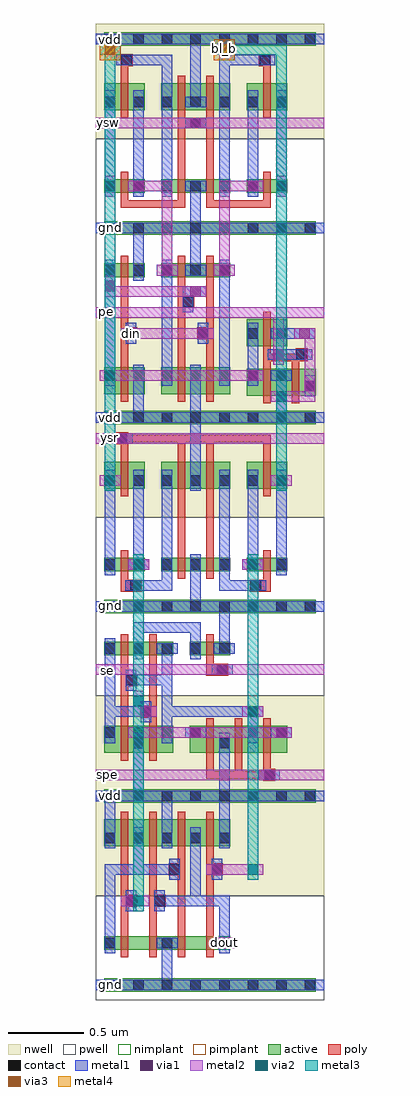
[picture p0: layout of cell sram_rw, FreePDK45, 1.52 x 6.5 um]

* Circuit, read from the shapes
.subckt sram_rw bl bl_b din dout gnd pe se spe vdd ysr ysw
M1 n1 n2 n3 gnd nfet w=0.09u l=0.05u
M2 n4 n5 n2 gnd nfet w=0.09u l=0.05u
M3 n2 n6 bl gnd nfet w=0.09u l=0.05u
M4 gnd din n7 gnd nfet w=0.09u l=0.05u
M5 n8 ysw bl gnd nfet w=0.09u l=0.05u
M6 gnd dout n1 gnd nfet w=0.09u l=0.05u
M7 n5 n2 n4 gnd nfet w=0.09u l=0.05u
M8 n9 n3 gnd gnd nfet w=0.09u l=0.05u
M9 gnd ysr n6 gnd nfet w=0.09u l=0.05u
M10 gnd n7 n8 gnd nfet w=0.09u l=0.05u
M11 gnd ysw n10 gnd nfet w=0.09u l=0.05u
M12 dout n5 n9 gnd nfet w=0.09u l=0.05u
M13 gnd se n4 gnd nfet w=0.09u l=0.05u
M14 n11 ysr gnd gnd nfet w=0.09u l=0.05u
M15 n12 din gnd gnd nfet w=0.09u l=0.05u
M16 n13 ysw gnd gnd nfet w=0.09u l=0.05u
M17 bl_b n11 n5 gnd nfet w=0.09u l=0.05u
M18 bl_b ysw n12 gnd nfet w=0.09u l=0.05u
M19 n3 n2 vdd vdd pfet w=0.18u l=0.05u
M20 vdd n5 n2 vdd pfet w=0.18u l=0.05u
M21 n2 ysr bl vdd pfet w=0.18u l=0.05u
M22 vdd din n7 vdd pfet w=0.18u l=0.05u
M23 n8 n10 bl vdd pfet w=0.18u l=0.05u
M24 vdd dout n3 vdd pfet w=0.18u l=0.05u
M25 n5 n2 vdd vdd pfet w=0.18u l=0.05u
M26 dout n3 vdd vdd pfet w=0.18u l=0.05u
M27 vdd ysr n6 vdd pfet w=0.18u l=0.05u
M28 vdd n7 n8 vdd pfet w=0.18u l=0.05u
M29 vdd ysw n10 vdd pfet w=0.18u l=0.05u
M30 vdd n5 dout vdd pfet w=0.18u l=0.05u
M31 vdd spe n2 vdd pfet w=0.18u l=0.05u
M32 n11 ysr vdd vdd pfet w=0.18u l=0.05u
M33 n12 din vdd vdd pfet w=0.18u l=0.05u
M34 n13 ysw vdd vdd pfet w=0.18u l=0.05u
M35 n5 spe vdd vdd pfet w=0.18u l=0.05u
M36 n2 spe n5 vdd pfet w=0.18u l=0.05u
M37 bl_b ysr n5 vdd pfet w=0.18u l=0.05u
M38 vdd pe bl vdd pfet w=0.18u l=0.05u
M39 bl_b pe bl vdd pfet w=0.18u l=0.05u
M40 bl_b n13 n12 vdd pfet w=0.18u l=0.05u
M41 bl_b pe vdd vdd pfet w=0.18u l=0.05u
.ends

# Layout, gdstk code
import gdstk
lib = gdstk.Library(unit=1e-6, precision=5e-10)
def R(c, l, rs):  # rectangles x0, y0, x1, y1
    for r in rs: c.add(gdstk.rectangle(r[:2], r[2:], *l))
def A(c, l, x, y, w, h, nx, ny, dx, dy):  # array of equal rectangles
    R(c, l, [(x+i*dx, y+j*dy, x+i*dx+w, y+j*dy+h) for i in range(nx) for j in range(ny)])
active = (1, 0)
pwell = (2, 0)
nwell = (3, 0)
nimplant = (4, 0)
pimplant = (5, 0)
poly = (9, 0)
contact = (10, 0)
metal1 = (11, 0)
via1 = (12, 0)
metal2 = (13, 0)
via2 = (14, 0)
metal3 = (15, 0)
via3 = (16, 0)
metal4 = (17, 0)

sram_rw = lib.new_cell('sram_rw')
A(sram_rw, active, 0.055, -0.045, 1.41, 0.09, 1, 6, 0, 1.26)
R(sram_rw, active, [(0.055,0.235,0.895,0.325), (0.055,0.925,0.895,1.105), (0.055,1.545,0.515,1.725), (0.625,1.545,1.275,1.725), (0.055,2.195,0.515,2.285), (0.625,2.195,0.895,2.285), (0.055,2.755,0.325,2.845), (0.435,2.755,0.895,2.845), (1.005,2.755,1.275,2.845), (0.055,3.305,0.325,3.485), (0.435,3.305,0.895,3.485), (1.005,3.305,1.275,3.485), (1.005,3.925,1.465,4.105), (0.055,3.935,0.325,4.115), (0.435,3.935,0.895,4.115), (1.005,4.255,1.275,4.435), (0.055,4.715,0.325,4.805), (0.435,4.715,0.895,4.805), (0.055,5.275,0.325,5.365), (0.435,5.275,0.895,5.365), (1.005,5.275,1.275,5.365), (0.055,5.825,0.325,6.005), (0.435,5.825,0.895,6.005), (1.005,5.825,1.275,6.005)])
R(sram_rw, pwell, [(0,-0.1,1.52,0.595), (0,1.925,1.52,3.115), (0,4.445,1.52,5.635)])
R(sram_rw, nwell, [(0,0.595,1.52,1.925), (0,3.115,1.52,4.445), (0,5.635,1.52,6.4)])
A(sram_rw, nimplant, 0.055, 1.215, 1.41, 0.09, 1, 3, 0, 2.52)
R(sram_rw, nimplant, [(0.055,0.235,0.895,0.325), (0.055,2.195,0.515,2.285), (0.625,2.195,0.895,2.285), (0.055,2.755,0.325,2.845), (0.435,2.755,0.895,2.845), (1.005,2.755,1.275,2.845), (0.055,4.715,0.325,4.805), (0.435,4.715,0.895,4.805), (0.055,5.275,0.325,5.365), (0.435,5.275,0.895,5.365), (1.005,5.275,1.275,5.365)])
A(sram_rw, pimplant, 0.055, -0.045, 1.41, 0.09, 1, 3, 0, 2.52)
R(sram_rw, pimplant, [(0.055,0.925,0.895,1.105), (0.055,1.545,0.515,1.725), (0.625,1.545,1.275,1.725), (0.055,3.305,0.325,3.485), (0.435,3.305,0.895,3.485), (1.005,3.305,1.275,3.485), (1.005,3.925,1.465,4.105), (0.055,3.935,0.325,4.115), (0.435,3.935,0.895,4.115), (1.005,4.255,1.275,4.435), (0.055,5.825,0.325,6.005), (0.435,5.825,0.895,6.005), (1.005,5.825,1.275,6.005)])
A(sram_rw, poly, 0.165, 0.185, 0.05, 0.97, 4, 1, 0.19, 0)
R(sram_rw, poly, [(0.215,0.52,0.275,0.6), (0.405,0.52,0.465,0.6), (0.485,0.73,0.545,0.81), (0.785,0.73,0.845,0.81), (1.115,1.36,1.165,1.775), (1.165,1.36,1.195,1.44), (0.735,1.375,1.115,1.425), (0.735,1.425,0.785,1.775), (0.925,1.425,0.975,1.775), (0.165,1.495,0.215,2.335), (0.355,1.495,0.405,2.335), (0.295,1.78,0.355,1.86), (0.215,1.99,0.275,2.07), (0.735,2.06,0.785,2.335), (0.785,2.06,0.88,2.14), (0.165,2.62,0.215,2.895), (0.215,2.62,0.305,2.7), (1.025,2.62,1.115,2.7), (1.115,2.62,1.165,2.895), (0.545,2.705,0.595,3.615), (0.735,2.705,0.785,3.615), (0.165,3.255,0.215,3.615), (1.115,3.255,1.165,3.615), (0.135,3.6,0.165,3.68), (0.165,3.615,1.165,3.665), (0.165,3.665,0.215,3.68), (1.115,3.875,1.165,4.485), (1.305,3.875,1.355,4.155), (0.165,3.885,0.215,4.855), (0.545,3.885,0.595,4.855), (0.735,3.885,0.785,4.855), (1.165,4.155,1.41,4.205), (1.33,4.205,1.41,4.24), (0.215,4.3,0.275,4.38), (0.675,4.3,0.735,4.38), (0.595,4.51,0.655,4.59), (0.165,5.175,0.215,5.415), (0.215,5.175,0.545,5.225), (0.545,5.175,0.595,6.055), (0.735,5.175,0.785,6.055), (0.785,5.175,1.115,5.225), (1.115,5.175,1.165,5.415), (0.595,5.705,0.735,5.775), (0.165,5.775,0.215,6.2), (1.115,5.775,1.165,6.2), (0.215,6.12,0.245,6.2), (1.085,6.12,1.115,6.2)])
A(sram_rw, contact, 0.06, -0.035, 0.07, 0.07, 8, 6, 0.19, 1.26)
A(sram_rw, contact, 0.06, 0.245, 0.07, 0.07, 3, 1, 0.38, 0)
A(sram_rw, contact, 0.06, 0.945, 0.07, 0.07, 5, 2, 0.19, 1.26)
A(sram_rw, contact, 0.44, 2.765, 0.07, 0.07, 3, 1, 0.19, 0)
A(sram_rw, contact, 0.06, 3.325, 0.07, 0.07, 7, 2, 0.19, 0.7)
A(sram_rw, contact, 0.06, 4.725, 0.07, 0.07, 5, 1, 0.19, 0)
A(sram_rw, contact, 0.06, 5.285, 0.07, 0.07, 7, 2, 0.19, 0.56)
R(sram_rw, contact, [(0.2,0.525,0.27,0.595), (0.39,0.525,0.46,0.595), (0.49,0.735,0.56,0.805), (0.77,0.735,0.84,0.805), (1.12,1.37,1.19,1.435), (0.25,1.575,0.32,1.645), (0.82,1.575,0.89,1.645), (0.06,1.645,0.13,1.715), (0.44,1.645,0.51,1.715), (0.63,1.645,0.7,1.715), (1.01,1.645,1.08,1.715), (1.2,1.645,1.27,1.715), (0.3,1.785,0.37,1.855), (0.2,1.995,0.27,2.065), (0.805,2.065,0.875,2.13), (0.23,2.63,0.3,2.695), (1.03,2.63,1.1,2.695), (0.06,2.765,0.13,2.835), (1.2,2.765,1.27,2.835), (0.25,2.77,0.32,2.835), (1.01,2.77,1.08,2.835), (0.14,3.605,0.21,3.67), (1.39,3.955,1.46,4.025), (1.335,4.165,1.405,4.235), (0.2,4.305,0.27,4.375), (0.68,4.305,0.75,4.375), (1.01,4.305,1.08,4.375), (1.2,4.305,1.27,4.375), (0.58,4.515,0.65,4.585), (0.63,5.705,0.7,5.77), (0.17,6.125,0.24,6.19), (1.09,6.125,1.16,6.19)])
A(sram_rw, metal1, 0, -0.035, 1.52, 0.07, 1, 6, 0, 1.26)
A(sram_rw, metal1, 0.06, 0.91, 0.07, 0.315, 3, 1, 0.38, 0)
A(sram_rw, metal1, 0.06, 3.99, 0.07, 0.84, 3, 1, 0.38, 0)
R(sram_rw, metal1, [(0.44,0.035,0.51,0.245), (0.06,0.21,0.13,0.805), (0.82,0.21,0.89,0.595), (0.405,0.245,0.545,0.315), (0.2,0.49,0.27,0.63), (0.39,0.49,0.46,0.63), (0.46,0.525,0.82,0.595), (0.63,0.595,0.7,1.05), (0.49,0.7,0.56,0.84), (0.77,0.7,0.84,0.84), (0.13,0.735,0.49,0.805), (0.25,0.805,0.32,1.05), (0.25,1.295,0.32,1.68), (0.82,1.295,0.89,1.68), (1.085,1.365,1.225,1.435), (0.06,1.61,0.13,2.31), (0.44,1.61,0.51,2.205), (1.01,1.61,1.08,1.785), (0.595,1.645,0.735,1.715), (1.165,1.645,1.305,1.715), (0.3,1.75,0.37,1.89), (0.13,1.785,0.3,1.855), (0.51,1.785,1.115,1.855), (0.2,1.96,0.27,2.1), (0.27,1.995,0.44,2.065), (0.77,2.065,0.91,2.135), (0.25,2.17,0.32,2.345), (0.63,2.17,0.7,2.345), (0.405,2.205,0.545,2.275), (0.785,2.205,0.925,2.275), (0.82,2.275,0.89,2.485), (0.25,2.345,0.7,2.415), (0.63,2.555,0.7,2.87), (0.195,2.625,0.51,2.695), (0.82,2.625,1.135,2.695), (0.44,2.695,0.51,3.43), (0.82,2.695,0.89,3.43), (0.06,2.73,0.13,3.43), (1.2,2.73,1.27,3.43), (0.215,2.765,0.355,2.835), (0.975,2.765,1.115,2.835), (0.25,2.835,0.32,3.43), (1.01,2.835,1.08,3.43), (0.63,3.29,0.7,3.745), (0.105,3.605,0.245,3.675), (0.25,3.815,0.32,4.13), (0.63,3.815,0.7,4.13), (1.2,3.815,1.27,4.025), (1.39,3.92,1.46,4.06), (1.01,3.99,1.08,4.41), (1.165,4.025,1.305,4.095), (1.145,4.165,1.44,4.235), (0.2,4.27,0.27,4.41), (0.68,4.27,0.75,4.41), (1.165,4.305,1.46,4.375), (0.58,4.48,0.65,4.585), (0.58,4.585,0.735,4.655), (0.25,4.69,0.32,5.005), (0.595,4.725,0.735,4.795), (0.63,4.795,0.7,5.005), (0.63,5.075,0.7,5.285), (0.06,5.25,0.13,5.96), (0.25,5.25,0.32,5.96), (0.44,5.25,0.51,6.195), (0.82,5.25,0.89,6.195), (1.01,5.25,1.08,5.96), (1.2,5.25,1.27,5.96), (0.595,5.285,0.735,5.355), (0.595,5.705,0.735,5.775), (0.595,5.845,0.735,5.915), (0.63,5.915,0.7,6.265), (0.135,6.125,0.44,6.195), (0.89,6.125,1.195,6.195)])
A(sram_rw, via1, 1.01, 2.765, 0.07, 0.07, 1, 3, 0, 1.26)
R(sram_rw, via1, [(0.82,0.245,0.89,0.315), (0.2,0.525,0.27,0.595), (0.77,0.735,0.84,0.805), (1.12,1.365,1.19,1.435), (0.63,1.645,0.7,1.715), (1.2,1.645,1.27,1.715), (0.3,1.785,0.37,1.855), (1.01,1.785,1.08,1.855), (0.805,2.065,0.875,2.135), (0.25,2.765,0.32,2.835), (0.06,3.325,0.13,3.395), (1.2,3.325,1.27,3.395), (0.14,3.605,0.21,3.675), (1.39,3.955,1.46,4.025), (1.18,4.165,1.25,4.235), (0.2,4.305,0.27,4.375), (0.68,4.305,0.75,4.375), (1.355,4.305,1.425,4.375), (0.63,4.585,0.7,4.655), (0.06,4.62,0.13,4.69), (0.44,4.725,0.51,4.795), (0.82,4.725,0.89,4.795), (0.06,5.285,0.13,5.355), (0.25,5.285,0.32,5.355), (1.2,5.285,1.27,5.355), (0.63,5.705,0.7,5.775)])
R(sram_rw, metal2, [(0.785,0.245,0.925,0.315), (0.165,0.525,0.355,0.595), (0.735,0.735,1.115,0.805), (0,1.365,1.52,1.435), (0.215,1.645,1.305,1.715), (0.25,1.785,0.405,1.855), (0.975,1.785,1.115,1.855), (0.25,1.855,0.32,1.96), (0,2.065,1.52,2.135), (0.215,2.765,0.355,2.835), (0.975,2.765,1.115,2.835), (0.025,3.325,0.165,3.395), (1.165,3.325,1.305,3.395), (0,3.605,1.52,3.675), (1.165,3.885,1.39,3.955), (1.39,3.885,1.46,4.305), (0.025,4.025,1.115,4.095), (1.18,4.13,1.25,4.445), (0.165,4.305,0.785,4.375), (1.32,4.305,1.46,4.375), (0,4.445,1.52,4.515), (0.06,4.585,0.13,4.725), (0.13,4.585,0.735,4.655), (0.405,4.725,0.545,4.795), (0.785,4.725,0.925,4.795), (0.44,4.795,0.51,5.355), (0.82,4.795,0.89,5.355), (0.06,5.25,0.13,5.39), (1.2,5.25,1.27,5.39), (0.215,5.285,0.44,5.355), (0.89,5.285,1.115,5.355), (0,5.705,1.52,5.775)])
R(sram_rw, via2, [(0.25,0.525,0.32,0.595), (1.01,0.735,1.08,0.805), (0.25,1.645,0.32,1.715), (1.01,1.785,1.08,1.855), (0.25,1.855,0.32,1.925), (0.25,2.765,0.32,2.835), (1.01,2.765,1.08,2.835), (0.06,3.325,0.13,3.395), (1.2,3.325,1.27,3.395), (1.2,3.885,1.27,3.955), (0.06,4.025,0.13,4.095), (0.06,5.285,0.13,5.355), (1.2,5.285,1.27,5.355)])
R(sram_rw, metal3, [(0.25,0.49,0.32,2.87), (1.01,0.7,1.08,2.87), (0.06,3.29,0.13,6.195), (1.2,3.29,1.27,6.265), (0.025,6.195,0.165,6.265), (0.785,6.195,1.2,6.265)])
R(sram_rw, via3, [(0.06,6.195,0.13,6.265), (0.82,6.195,0.89,6.265)])
R(sram_rw, metal4, [(0.025,6.16,0.165,6.3), (0.785,6.16,0.925,6.3)])
sram_rw.add(gdstk.Label('gnd', (0.1,0.005), layer=11, texttype=0))
sram_rw.add(gdstk.Label('gnd', (0.1,5.045), layer=11, texttype=0))
sram_rw.add(gdstk.Label('vdd', (0.095,1.26), layer=11, texttype=0))
sram_rw.add(gdstk.Label('gnd', (0.1,2.525), layer=11, texttype=0))
sram_rw.add(gdstk.Label('vdd', (0.095,3.78), layer=11, texttype=0))
sram_rw.add(gdstk.Label('vdd', (0.095,6.3), layer=11, texttype=0))
sram_rw.add(gdstk.Label('dout', (0.855,0.28), layer=13, texttype=0))
sram_rw.add(gdstk.Label('spe', (0.08,1.405), layer=13, texttype=0))
sram_rw.add(gdstk.Label('se', (0.08,2.095), layer=13, texttype=0))
sram_rw.add(gdstk.Label('ysr', (0.09,3.645), layer=13, texttype=0))
sram_rw.add(gdstk.Label('din', (0.235,4.34), layer=13, texttype=0))
sram_rw.add(gdstk.Label('pe', (0.07,4.485), layer=13, texttype=0))
sram_rw.add(gdstk.Label('ysw', (0.085,5.745), layer=13, texttype=0))
sram_rw.add(gdstk.Label('bl_b', (0.855,6.235), layer=17, texttype=0))
sram_rw.add(gdstk.Label('bl', (0.095,6.23), layer=17, texttype=0))

lib.write_gds('sram_rw.gds')
